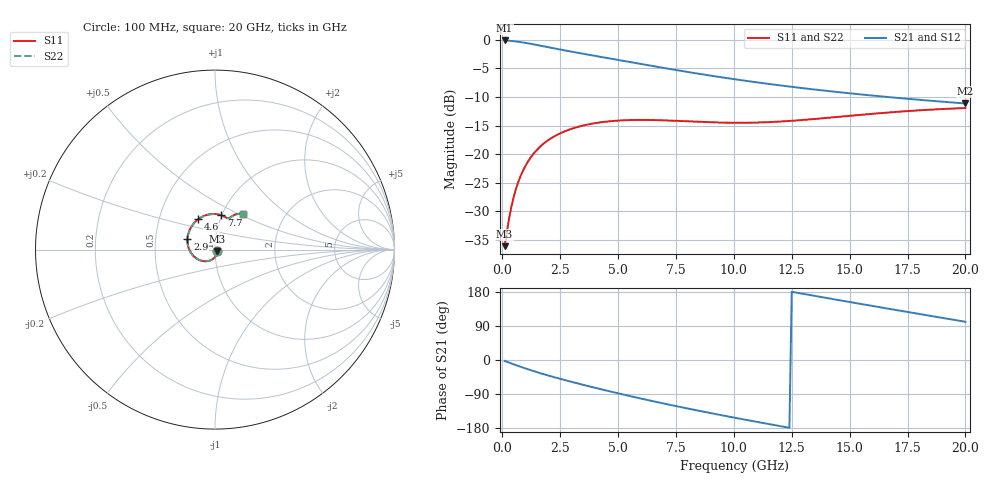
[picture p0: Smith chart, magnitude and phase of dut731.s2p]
! Touchstone file exported from HFSS 2024.1.0
!  File:  C:/UserFiles/LocalFiles/RDL_TSV_Batchsim/temp_RDL_TSV_731_1779892870.aedt
!  Generated:  10:58:07 PM May 27, 2026
!  Design:  RDL_TSV
!  Project:  temp_RDL_TSV_731_1779892870
!  Setup:  Setup1
!  Solution:  Sweep
! Variables:
!  dtsv = 14.05um
!  hbump = 3um
!  htsv = 99.6um
!  ldown = 477.96um
!  lrdl = 531.93um
!  p = 40
!  p1 = 42.51um
!  rhole = 10um
!  subl = 3561.6um
!  t = 450um
!  tdown = 3.99um
!  trdl = 3.63um
!  viad = 10um
!  wdown = 25.8um
!  wrdl = 25.76um
!  xbump = 18um
# GHz S MA R 50.000000
! Terminal data exported
! Port[1] = TM1_1_T1
! Port[2] = TM1_4_T1
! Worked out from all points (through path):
!   200 points, 100 MHz to 20 GHz, reference 50 ohm
!   highest |S21| = -0.13 dB at 100 MHz (marker M1); lowest = -11.1 dB at 20 GHz (marker M2)
!   group delay of S21, straight-line fit = 34.2 ps
!   lowest |S11| = -36.1 dB at 100 MHz (marker M3), VSWR 1.03, Z = 51.3 - j0.84 ohm
!   |S11| at or under -10 dB: start of sweep to end of sweep
!   |S22| runs from -36.1 to -12.0 dB; largest |S21 - S12| = 1.7e-14
!   S11 on the Smith chart (normalised r, x): 100 MHz: 1.03, -0.02; 2.9 GHz: 0.73, +0.09; 4.6 GHz: 0.79, +0.28; 7.7 GHz: 0.99, +0.40; 20 GHz: 1.25, +0.53
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0.1  0.01568 -31.4  0.9853 -2.4  0.9853 -2.4  0.01568 -31.4
! Gamma 0 0 0 0
! Port Impedance 50 0 50 0
0.3  0.02781 -69.9  0.9792 -7.1  0.9792 -7.1  0.0278 -69.9
0.5  0.04281 -91.3  0.9704 -11.6  0.9704 -11.6  0.0428 -91.3
0.7  0.05782 -106.7  0.9592 -16.0  0.9592 -16.0  0.05781 -106.7
1  0.07897 -125.2  0.9387 -22.3  0.9387 -22.3  0.07894 -125.1
1.4  0.1037 -145.4  0.9073 -30.3  0.9073 -30.3  0.1036 -145.4
1.8  0.1243 -162.8  0.8748 -37.7  0.8748 -37.7  0.1242 -162.7
2.3  0.1451 178.5  0.8357 -46.4  0.8357 -46.4  0.1449 178.5
2.9  0.164 159.3  0.7926 -56.2  0.7926 -56.2  0.1638 159.3
3.5  0.178 143.0  0.7532 -65.6  0.7532 -65.6  0.1776 143.0
4.6  0.1934 118.9  0.6877 -82.2  0.6877 -82.2  0.1929 118.9
5.7  0.1988 100.8  0.6283 -97.8  0.6283 -97.8  0.1982 100.8
6.8  0.1978 87.6  0.5746 -112.6  0.5746 -112.6  0.1972 87.5
7.7  0.1946 79.7  0.5351 -124.2  0.5351 -124.2  0.1939 79.7
8.9  0.19 72.8  0.4888 -139.0  0.4888 -139.0  0.1892 72.8
10.1  0.1879 68.8  0.4494 -153.1  0.4494 -153.1  0.187 68.8
11.7  0.1912 66.1  0.4059 -171.2  0.4059 -171.2  0.1902 66.1
13.4  0.2021 64.1  0.3687 170.2  0.3687 170.2  0.201 64.1
15.1  0.2171 61.6  0.3385 152.0  0.3385 152.0  0.2158 61.6
16.7  0.2314 58.6  0.3149 135.1  0.3149 135.1  0.23 58.6
18.3  0.2435 55.2  0.295 118.4  0.295 118.4  0.2419 55.2
20  0.2528 51.6  0.2771 100.8  0.2771 100.8  0.251 51.6
